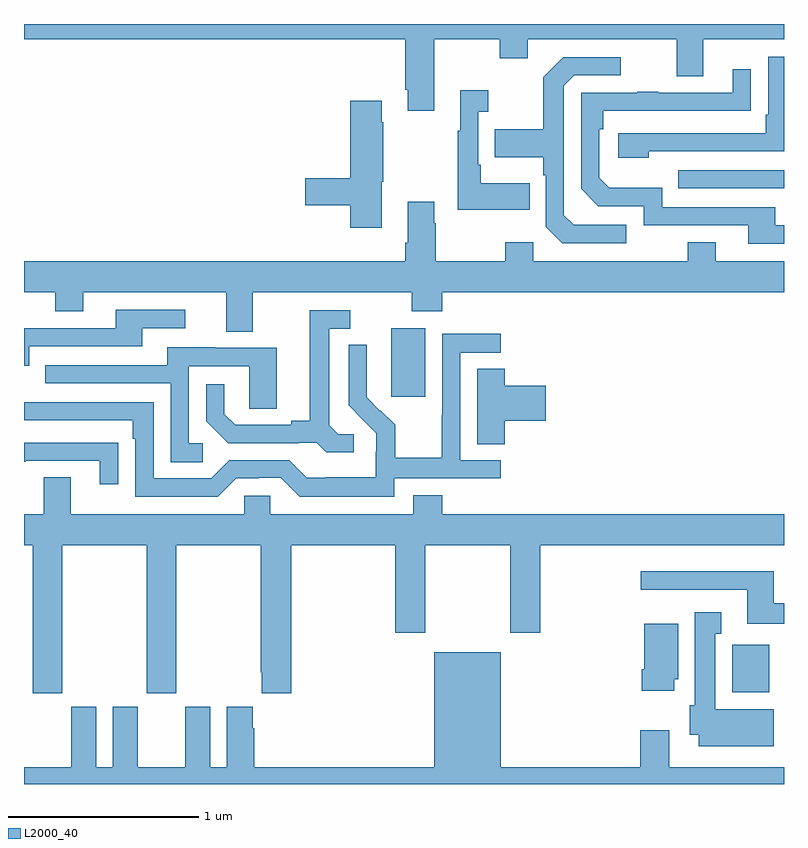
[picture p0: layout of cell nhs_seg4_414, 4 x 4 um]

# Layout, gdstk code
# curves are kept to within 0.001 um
import gdstk
lib = gdstk.Library(unit=1e-6, precision=1e-09)
def R(c, l, rs):  # rectangles x0, y0, x1, y1
    for r in rs: c.add(gdstk.rectangle(r[:2], r[2:], *l))
def P(c, l, *ps):  # polygons
    for p in ps: c.add(gdstk.Polygon(p, *l))
L2000_40 = (2000, 40)

nhs_seg4_414 = lib.new_cell('nhs_seg4_414')
R(nhs_seg4_414, L2000_40, [(134.727,793.382,134.923,793.632), (132.932,794.937,133.111,795.298), (134.443,796.035,135,796.131)])
P(nhs_seg4_414, L2000_40, [(133.159,796.82),(133.504,796.82),(133.504,796.721),(133.651,796.721),(133.651,796.82),(134.435,796.82),(134.435,796.626),(134.575,796.626),(134.575,796.82),(135,796.82),(135,796.9),(131,796.9),(131,796.82),(133.007,796.82),(133.007,796.555),(133.019,796.555),(133.019,796.443),(133.159,796.443)],
  [(134.288,796.23),(135,796.23),(135,796.728),(134.916,796.728),(134.916,796.423),(134.903,796.423),(134.903,796.326),(134.127,796.326),(134.127,796.196),(134.288,796.196)],
  [(134.17,795.843),(133.893,795.843),(133.842,795.894),(133.842,796.575),(133.896,796.629),(134.14,796.629),(134.14,796.725),(133.839,796.725),(133.734,796.619),(133.734,796.347),(133.477,796.347),(133.477,796.199),(133.734,796.199),(133.734,796.103),(133.746,796.103),(133.746,795.834),(133.833,795.747),(134.17,795.747)],
  [(135,795.84),(134.953,795.84),(134.953,795.936),(134.358,795.936),(134.358,796.039),(134.081,796.039),(134.028,796.092),(134.028,796.346),(134.048,796.346),(134.048,796.443),(134.825,796.444),(134.825,796.663),(134.729,796.663),(134.729,796.539),(134.339,796.539),(134.339,796.544),(134.227,796.544),(134.227,796.539),(133.932,796.539),(133.932,796.032),(134.022,795.942),(134.262,795.942),(134.262,795.84),(134.813,795.84),(134.813,795.744),(135,795.744)],
  [(133.661,796.063),(133.405,796.063),(133.405,796.159),(133.392,796.159),(133.392,796.439),(133.444,796.439),(133.444,796.552),(133.295,796.552),(133.295,796.339),(133.284,796.339),(133.284,795.923),(133.661,795.923)],
  [(132.883,796.071),(132.891,796.071),(132.891,796.382),(132.883,796.382),(132.883,796.495),(132.716,796.495),(132.716,796.088),(132.48,796.088),(132.48,795.946),(132.716,795.946),(132.716,795.828),(132.883,795.828)],
  [(132.205,795.488),(133.042,795.488),(133.042,795.389),(133.202,795.389),(133.202,795.488),(135,795.488),(135,795.652),(134.641,795.652),(134.641,795.751),(134.494,795.751),(134.494,795.652),(133.68,795.652),(133.68,795.751),(133.534,795.751),(133.534,795.652),(133.167,795.652),(133.167,795.851),(133.159,795.851),(133.159,795.964),(133.019,795.964),(133.019,795.748),(133.007,795.748),(133.007,795.652),(131,795.652),(131,795.488),(131.164,795.488),(131.164,795.389),(131.311,795.389),(131.311,795.488),(132.065,795.488),(132.065,795.28),(132.205,795.28)],
  [(131.028,795.204),(131.623,795.204),(131.623,795.3),(131.848,795.3),(131.848,795.396),(131.483,795.396),(131.483,795.3),(131,795.3),(131,795.101),(131.028,795.101)],
  [(132.736,794.742),(132.654,794.742),(132.607,794.789),(132.607,795.297),(132.718,795.297),(132.718,795.393),(132.503,795.393),(132.503,794.813),(132.407,794.813),(132.407,794.79),(132.112,794.79),(132.055,794.847),(132.055,795.004),(131.958,795.004),(131.958,794.81),(132.074,794.694),(132.446,794.694),(132.446,794.697),(132.54,794.697),(132.592,794.645),(132.736,794.645)],
  [(132.948,794.508),(133.51,794.508),(133.51,794.604),(133.296,794.604),(133.296,795.171),(133.51,795.171),(133.51,795.27),(133.2,795.27),(133.2,794.84),(133.198,794.84),(133.198,794.617),(132.953,794.617),(132.953,794.791),(132.876,794.868),(132.873,794.865),(132.803,794.936),(132.804,795.212),(132.708,795.212),(132.708,794.894),(132.854,794.746),(132.854,794.649),(132.852,794.649),(132.852,794.515),(132.589,794.515),(132.589,794.511),(132.489,794.511),(132.396,794.604),(132.081,794.604),(131.985,794.508),(131.682,794.508),(131.682,794.91),(131,794.91),(131,794.814),(131.573,794.814),(131.573,794.717),(131.586,794.717),(131.586,794.412),(132.021,794.412),(132.117,794.508),(132.236,794.508),(132.236,794.511),(132.351,794.511),(132.451,794.411),(132.948,794.411)],
  [(131.941,794.694),(131.868,794.694),(131.868,795.099),(132.186,795.099),(132.186,794.875),(132.331,794.875),(132.331,795.195),(132.007,795.195),(132.007,795.199),(131.753,795.199),(131.753,795.105),(131.113,795.105),(131.113,795.009),(131.772,795.009),(131.772,794.593),(131.941,794.593)],
  [(133.529,794.813),(133.747,794.813),(133.747,794.996),(133.529,794.996),(133.529,795.086),(133.385,795.086),(133.385,794.689),(133.529,794.689)],
  [(131.495,794.696),(131.393,794.696),(131.393,794.697),(131,794.697),(131,794.596),(131.009,794.596),(131.009,794.601),(131.399,794.601),(131.399,794.478),(131.495,794.478)],
  [(131.202,794.156),(131.647,794.156),(131.647,793.377),(131.802,793.377),(131.802,794.156),(132.247,794.156),(132.247,793.489),(132.251,793.489),(132.251,793.377),(132.407,793.377),(132.407,794.156),(132.953,794.156),(132.953,793.695),(133.113,793.695),(133.113,794.156),(133.558,794.156),(133.558,793.695),(133.718,793.695),(133.718,794.156),(135,794.156),(135,794.32),(133.202,794.32),(133.202,794.419),(133.049,794.419),(133.049,794.32),(132.297,794.32),(132.297,794.418),(132.159,794.418),(132.159,794.32),(131.245,794.32),(131.245,794.515),(131.105,794.515),(131.105,794.32),(131,794.32),(131,794.156),(131.047,794.156),(131.047,793.377),(131.202,793.377)],
  [(135,793.852),(134.947,793.852),(134.947,794.02),(134.247,794.02),(134.247,793.923),(134.807,793.923),(134.807,793.743),(135,793.743)],
  [(134.947,793.294),(134.638,793.294),(134.638,793.691),(134.671,793.691),(134.671,793.804),(134.531,793.804),(134.531,793.314),(134.504,793.314),(134.504,793.16),(134.552,793.16),(134.552,793.1),(134.947,793.1)],
  [(134.422,793.452),(134.443,793.452),(134.443,793.744),(134.264,793.744),(134.264,793.504),(134.252,793.504),(134.252,793.392),(134.422,793.392)],
  [(135,792.988),(134.395,792.988),(134.395,793.183),(134.243,793.183),(134.243,792.988),(133.51,792.988),(133.51,793.594),(133.16,793.594),(133.16,792.988),(132.212,792.988),(132.212,793.193),(132.205,793.193),(132.205,793.306),(132.068,793.306),(132.068,792.988),(131.98,792.988),(131.98,793.306),(131.849,793.306),(131.849,792.988),(131.599,792.988),(131.599,793.306),(131.468,793.306),(131.468,792.988),(131.38,792.988),(131.38,793.306),(131.249,793.306),(131.249,792.988),(131,792.988),(131,792.9),(135,792.9)])

lib.write_gds('nhs_seg4_414.gds')
